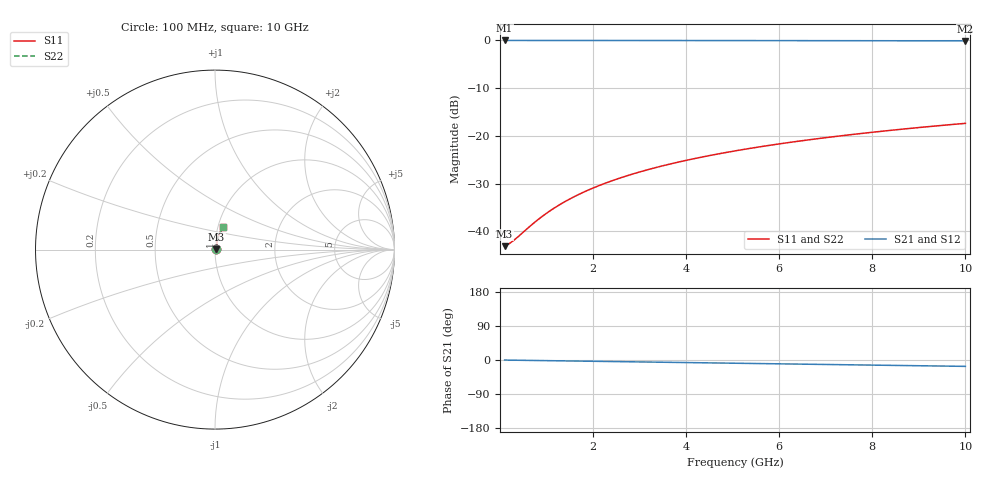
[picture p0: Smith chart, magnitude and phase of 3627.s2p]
# Hz S RI R 50.00
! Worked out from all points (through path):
!   100 points, 100 MHz to 10 GHz, reference 50 ohm
!   highest |S21| = -0.06 dB at 100 MHz (marker M1); lowest = -0.1 dB at 10 GHz (marker M2)
!   group delay of S21, straight-line fit = 4.67 ps
!   lowest |S11| = -43.1 dB at 100 MHz (marker M3), VSWR 1.01, Z = 50.7 + j0.137 ohm
!   |S11| at or under -10 dB: start of sweep to end of sweep
!   |S22| runs from -43.1 to -17.4 dB; largest |S21 - S12| = 0
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1e8  0.00686 0.00135  0.9931 -0.00293  0.9931 -0.00293  0.00686 0.00135
2e8  0.00691 0.00271  0.9931 -0.00586  0.9931 -0.00586  0.00691 0.00271
3e8  0.00697 0.00406  0.993 -0.00879  0.993 -0.00879  0.00697 0.00406
6e8  0.00714 0.00812  0.9928 -0.0176  0.9928 -0.0176  0.00714 0.00812
8e8  0.00729 0.0108  0.9926 -0.0234  0.9926 -0.0234  0.00729 0.0108
9e8  0.00737 0.0122  0.9925 -0.0263  0.9925 -0.0263  0.00737 0.0122
1.1e9  0.00756 0.0149  0.9923 -0.0322  0.9923 -0.0322  0.00756 0.0149
1.4e9  0.00789 0.0189  0.9918 -0.041  0.9918 -0.041  0.00789 0.0189
1.6e9  0.00815 0.0216  0.9915 -0.0468  0.9915 -0.0468  0.00815 0.0216
1.8e9  0.00844 0.0243  0.9911 -0.0527  0.9911 -0.0527  0.00844 0.0243
2.1e9  0.00894 0.0283  0.9905 -0.0614  0.9905 -0.0614  0.00894 0.0283
2.5e9  0.0097 0.0337  0.9895 -0.0731  0.9895 -0.0731  0.0097 0.0337
2.9e9  0.0106 0.039  0.9883 -0.0847  0.9883 -0.0847  0.0106 0.039
3.4e9  0.0119 0.0456  0.9866 -0.0992  0.9866 -0.0992  0.0119 0.0456
3.8e9  0.013 0.0509  0.9851 -0.1108  0.9851 -0.1108  0.013 0.0509
4.2e9  0.0143 0.0561  0.9834 -0.1223  0.9834 -0.1223  0.0143 0.0561
5.1e9  0.0177 0.0678  0.979 -0.1482  0.979 -0.1482  0.0177 0.0678
5.9e9  0.0211 0.078  0.9744 -0.171  0.9744 -0.171  0.0211 0.078
6.7e9  0.0251 0.088  0.9692 -0.1936  0.9692 -0.1936  0.0251 0.088
7.5e9  0.0295 0.0978  0.9634 -0.216  0.9634 -0.216  0.0295 0.0978
8.4e9  0.035 0.1085  0.9561 -0.2409  0.9561 -0.2409  0.035 0.1085
1e10  0.046 0.1267  0.9413 -0.2844  0.9413 -0.2844  0.046 0.1267
